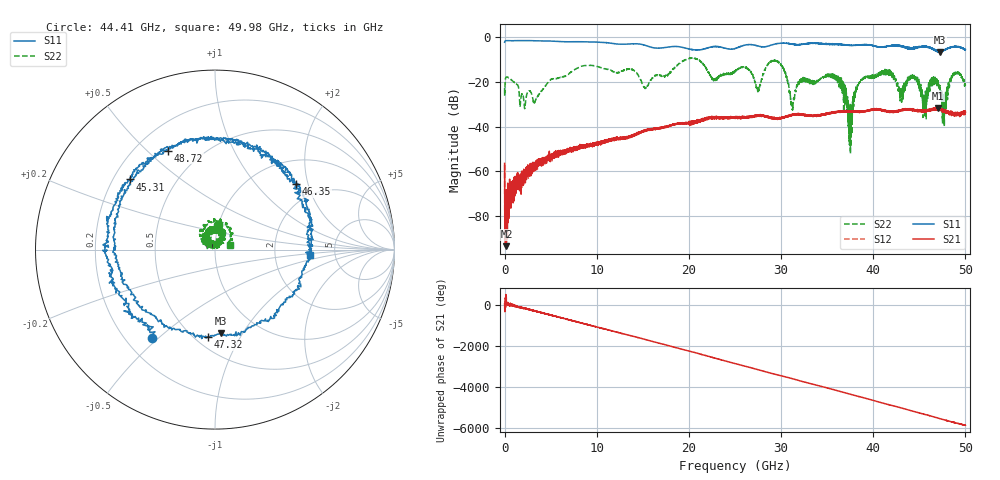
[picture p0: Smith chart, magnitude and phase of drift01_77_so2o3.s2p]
!Created with skrf (http://scikit-rf.org).
# Hz S RI R 50.0
!freq ReS11 ImS11 ReS21 ImS21 ReS12 ImS12 ReS22 ImS22
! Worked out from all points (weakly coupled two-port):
!   10001 points, 300 kHz to 50 GHz, reference 50 ohm
!   highest |S21| = -31.54 dB at 47.01 GHz (marker M1); lowest = -93.5 dB at 195.3 MHz (marker M2)
!   lowest |S11| = -6.6 dB at 47.28 GHz (marker M3), VSWR 2.76, Z = 33.8 - j40.5 ohm
!   |S11| at or under -10 dB: nowhere
!   |S22| runs from -52.1 to -9.2 dB; largest |S21 - S12| = 0.0034
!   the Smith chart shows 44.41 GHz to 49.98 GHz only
!   S11 on the Smith chart (normalised r, x): 44.41 GHz: 0.31, -0.48; 45.31 GHz: 0.27, +0.34; 46.35 GHz: 1.53, +1.68; 47.32 GHz: 0.58, -0.74; 48.72 GHz: 0.33, +0.58; 49.98 GHz: 3.22, -0.27
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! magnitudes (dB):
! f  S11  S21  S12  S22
! 300 kHz  -2.1  -56.5  -57.0  -22.7
! 195.3 MHz  -1.4  -93.5  -72.8  -17.7
! 3.29 GHz  -1.5  -58.7  -57.5  -28.8
! 8.335 GHz  -1.9  -49.3  -49.3  -12.9
! 16.67 GHz  -4.8  -40.7  -40.6  -16.7
! 25 GHz  -5.0  -35.7  -35.7  -15.3
! 29.58 GHz  -2.8  -36.3  -36.4  -10.8
! 31.23 GHz  -3.0  -34.6  -34.7  -32.3
! 33.34 GHz  -2.6  -35.2  -35.0  -20.3
! 36.15 GHz  -3.1  -33.4  -33.5  -18.9
! 37.49 GHz  -3.5  -33.2  -33.1  -30.8
! 38.65 GHz  -3.4  -33.2  -33.3  -19.4
! 41.67 GHz  -3.8  -33.3  -33.1  -16.1
! 44.41 GHz  -4.4  -32.2  -32.6  -17.3
! 45.31 GHz  -4.3  -33.4  -32.9  -24.4
! 46.35 GHz  -4.7  -32.5  -32.5  -18.1
! 47.01 GHz  -6.0  -31.5  -32.0  -20.0
! 47.28 GHz  -6.6  -32.4  -32.3  -24.3
! 47.32 GHz  -6.2  -31.9  -32.4  -25.8
! 48.72 GHz  -4.3  -33.7  -34.6  -16.9
! 49.98 GHz  -5.5  -34.5  -33.2  -21.3
! 50 GHz  -5.4  -33.5  -33.4  -21.6
